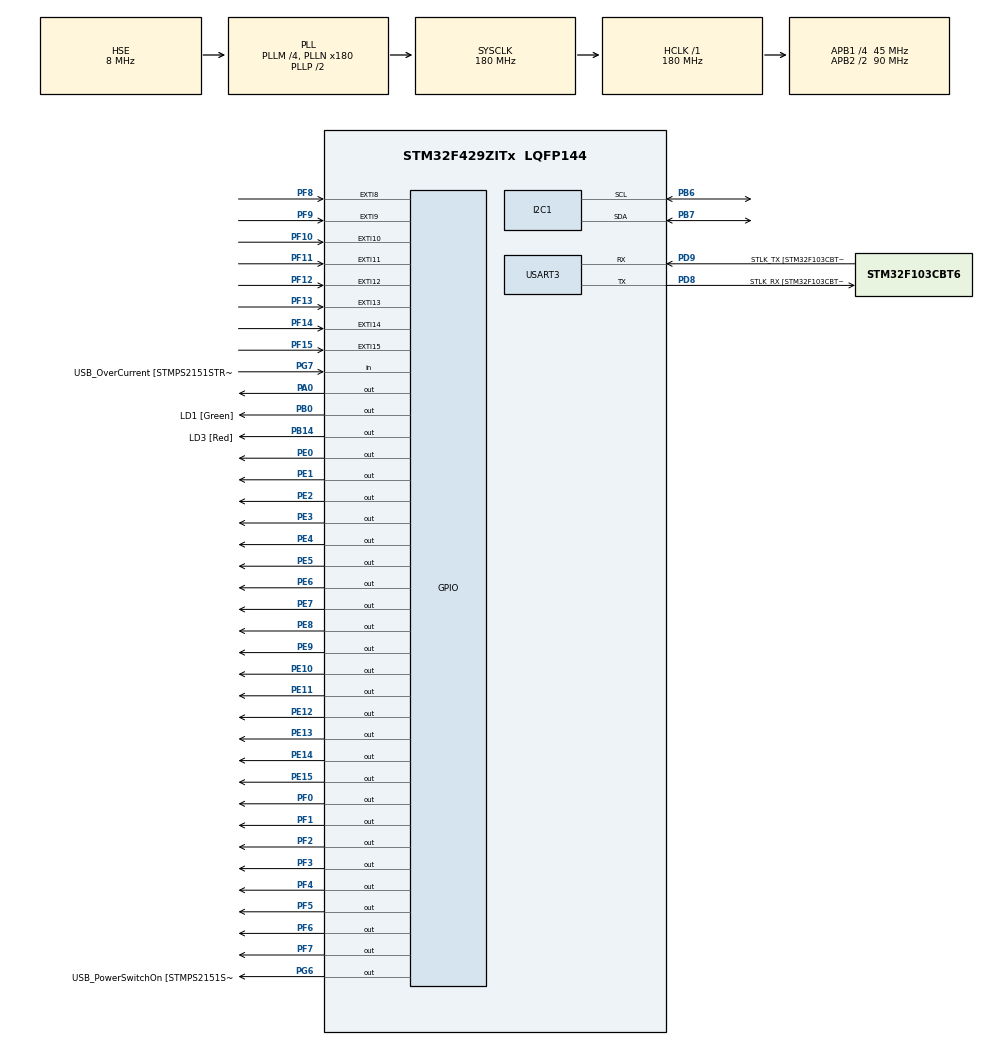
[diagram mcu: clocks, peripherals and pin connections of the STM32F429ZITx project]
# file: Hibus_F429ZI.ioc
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Mcu.Family=STM32F4
Mcu.Name=STM32F429ZITx
Mcu.Package=LQFP144
NVIC.EXTI15_10_IRQn=true\:0\:0\:false\:false\:true\:true\:true
NVIC.EXTI9_5_IRQn=true\:0\:0\:false\:false\:true\:true\:true
NVIC.PriorityGroup=NVIC_PRIORITYGROUP_4
NVIC.USART3_IRQn=true\:0\:0\:false\:false\:true\:true\:true
PA0/WKUP.Signal=GPIO_Output
PA1.GPIO_Label=RMII_REF_CLK [LAN8742A-CZ-TR_REFCLK0]
PA1.Signal=ETH_REF_CLK
PA10.GPIO_Label=USB_ID
PA10.Signal=USB_OTG_FS_ID
PA11.GPIO_Label=USB_DM
PA11.Signal=USB_OTG_FS_DM
PA12.GPIO_Label=USB_DP
PA12.Signal=USB_OTG_FS_DP
PA13.GPIO_Label=TMS
PA13.Mode=Serial_Wire
PA13.Signal=SYS_JTMS-SWDIO
PA14.GPIO_Label=TCK
PA14.Mode=Serial_Wire
PA14.Signal=SYS_JTCK-SWCLK
PA2.GPIO_Label=RMII_MDIO [LAN8742A-CZ-TR_MDIO]
PA2.Signal=ETH_MDIO
PA7.GPIO_Label=RMII_CRS_DV [LAN8742A-CZ-TR_CRS_DV]
PA7.Signal=ETH_CRS_DV
PA8.GPIO_Label=USB_SOF [TP1]
PA8.Signal=USB_OTG_FS_SOF
PA9.GPIO_Label=USB_VBUS
PA9.Signal=USB_OTG_FS_VBUS
PB0.GPIO_Label=LD1 [Green]
PB0.Signal=GPIO_Output
PB13.GPIO_Label=RMII_TXD1 [LAN8742A-CZ-TR_TXD1]
PB13.Signal=ETH_TXD1
PB14.GPIO_Label=LD3 [Red]
PB14.Signal=GPIO_Output
PB6.Mode=I2C
PB6.Signal=I2C1_SCL
PB7.Mode=I2C
PB7.Signal=I2C1_SDA
PC1.GPIO_Label=RMII_MDC [LAN8742A-CZ-TR_MDC]
PC1.Signal=ETH_MDC
PC14/OSC32_IN.Mode=LSE-External-Oscillator
PC14/OSC32_IN.Signal=RCC_OSC32_IN
PC15/OSC32_OUT.Mode=LSE-External-Oscillator
PC15/OSC32_OUT.Signal=RCC_OSC32_OUT
PC4.GPIO_Label=RMII_RXD0 [LAN8742A-CZ-TR_RXD0]
PC4.Signal=ETH_RXD0
PC5.GPIO_Label=RMII_RXD1 [LAN8742A-CZ-TR_RXD1]
PC5.Signal=ETH_RXD1
PD8.GPIO_Label=STLK_RX [STM32F103CBT6_PA3]
PD8.Mode=Asynchronous
PD8.Signal=USART3_TX
PD9.GPIO_Label=STLK_TX [STM32F103CBT6_PA2]
PD9.Mode=Asynchronous
PD9.Signal=USART3_RX
PE0.Signal=GPIO_Output
PE1.Signal=GPIO_Output
PE10.Signal=GPIO_Output
PE11.Signal=GPIO_Output
PE12.Signal=GPIO_Output
PE13.Signal=GPIO_Output
PE14.Signal=GPIO_Output
PE15.Signal=GPIO_Output
PE2.Signal=GPIO_Output
PE3.Signal=GPIO_Output
PE4.Signal=GPIO_Output
PE5.Signal=GPIO_Output
PE6.Signal=GPIO_Output
PE7.Signal=GPIO_Output
PE8.Signal=GPIO_Output
PE9.Signal=GPIO_Output
PF0.Signal=GPIO_Output
PF1.Signal=GPIO_Output
PF10.Signal=GPXTI10
PF11.Signal=GPXTI11
PF12.Signal=GPXTI12
PF13.Signal=GPXTI13
PF14.Signal=GPXTI14
PF15.Signal=GPXTI15
PF2.Signal=GPIO_Output
PF3.Signal=GPIO_Output
PF4.Signal=GPIO_Output
PF5.Signal=GPIO_Output
PF6.Signal=GPIO_Output
PF7.Signal=GPIO_Output
PF8.Signal=GPXTI8
PF9.Signal=GPXTI9
PG11.GPIO_Label=RMII_TX_EN [LAN8742A-CZ-TR_TXEN]
PG11.Signal=ETH_TX_EN
PG13.GPIO_Label=RMII_TXD0 [LAN8742A-CZ-TR_TXD0]
PG13.Signal=ETH_TXD0
PG6.GPIO_Label=USB_PowerSwitchOn [STMPS2151STR_EN]
PG6.Signal=GPIO_Output
PG7.GPIO_Label=USB_OverCurrent [STMPS2151STR_FAULT]
PG7.Signal=GPIO_Input
PH0/OSC_IN.GPIO_Label=MCO [STM32F103CBT6_PA8]
PH0/OSC_IN.Mode=HSE-External-Clock-Source
PH0/OSC_IN.Signal=RCC_OSC_IN
PH1/OSC_OUT.Mode=HSE-External-Clock-Source
PH1/OSC_OUT.Signal=RCC_OSC_OUT
ProjectManager.HeapSize=0x200
ProjectManager.StackSize=0x400
ProjectManager.TargetToolchain=MDK-ARM V5.27
RCC.48MHZClocksFreq_Value=90000000
RCC.AHBFreq_Value=180000000
RCC.APB1CLKDivider=RCC_HCLK_DIV4
RCC.APB1Freq_Value=45000000
RCC.APB1TimFreq_Value=90000000
RCC.APB2CLKDivider=RCC_HCLK_DIV2
RCC.APB2Freq_Value=90000000
RCC.APB2TimFreq_Value=180000000
RCC.CortexFreq_Value=180000000
RCC.HCLKFreq_Value=180000000
RCC.HSE_VALUE=8000000
RCC.HSI_VALUE=16000000
RCC.PLLM=4
RCC.PLLMUL=RCC_PLL_MUL9
RCC.PLLN=180
RCC.PLLSourceVirtual=RCC_PLLSOURCE_HSE
RCC.PRESCALERUSB=RCC_USBCLKSOURCE_PLL_DIV1_5
RCC.SYSCLKFreq_VALUE=180000000
RCC.SYSCLKSource=RCC_SYSCLKSOURCE_PLLCLK
RCC.SYSCLKSourceVirtual=RCC_SYSCLKSOURCE_PLLCLK
RCC.USBFreq_Value=48000000
RCC.VCOOutputFreq_Value=360000000
USART3.VirtualMode=VM_ASYNC
board=NUCLEO-F429ZI

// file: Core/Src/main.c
/* USER CODE BEGIN Header */
/**
  ******************************************************************************
  * @file           : main.c
  * @brief          : Main program body
  ******************************************************************************
  * @attention
  *
  * Copyright (c) 2022 STMicroelectronics.
  * All rights reserved.
  *
  * This software is licensed under terms that can be found in the LICENSE file
  * in the root directory of this software component.
  * If no LICENSE file comes with this software, it is provided AS-IS.
  *
  ******************************************************************************
  */
/* USER CODE END Header */
#include "main.h"
#include "i2c.h"
#include "usart.h"
#include "gpio.h"

/* USER CODE BEGIN Includes */
#include "stdio.h"
/* USER CODE END Includes */

void SystemClock_Config(void);
/* USER CODE BEGIN PFP */
int _write(int file, char* p, int len)
{
	if(HAL_UART_Transmit(&huart3, (uint8_t*)p, len, 10) == HAL_OK) return len;
	else return 0;
}
/* USER CODE END PFP */

int main(void)
{

  /* MCU Configuration--------------------------------------------------------*/

  /* Reset of all peripherals, Initializes the Flash interface and the Systick. */
  HAL_Init();

  /* Configure the system clock */
  SystemClock_Config();

  /* Initialize all configured peripherals */
  MX_GPIO_Init();
  MX_I2C1_Init();
  MX_USART3_UART_Init();
  /* USER CODE BEGIN 2 */
	HAL_GPIO_WritePin(GPIOA, GPIO_PIN_0, GPIO_PIN_RESET);
	GPIOA -> MODER = GPIOA -> MODER & (~0x11);
	GPIOA -> MODER = GPIOA -> MODER | (0x01);
	GPIOA -> ODR = 0x00;
  /* USER CODE END 2 */

  /* Infinite loop */
  /* USER CODE BEGIN WHILE */
	int i = 0;
	uint8_t dir = 1;
  while (1)
  {
		//if (dir > 0) i++;
	  //else i--;
		//GPIOF->ODR = GPIOA->ODR | 0x01 << i;
		//HAL_Delay(500);
		//if (i == 7) dir = 0;
		//if (i == 0) dir = 1;

		if(dir > 0){
			GPIOF->ODR = GPIOF->ODR ^ (0x01 << i);
			i++;
			if(i > 3) i = 3;

		}else{
			GPIOF->ODR = GPIOF->ODR ^ (0x01 << i);
			i--;
			if (i < 0) i = 0;
		}

		if (GPIOF->ODR == 0x0F ) dir = 0;
		if (GPIOF->ODR == 0x00 ) dir = 1;

		HAL_Delay(500);

    /* USER CODE END WHILE */

  }
}

void SystemClock_Config(void)
{
  RCC_OscInitTypeDef RCC_OscInitStruct = {0};
  RCC_ClkInitTypeDef RCC_ClkInitStruct = {0};

  /** Configure the main internal regulator output voltage
  */
  __HAL_RCC_PWR_CLK_ENABLE();
  __HAL_PWR_VOLTAGESCALING_CONFIG(PWR_REGULATOR_VOLTAGE_SCALE1);
  /** Initializes the RCC Oscillators according to the specified parameters
  * in the RCC_OscInitTypeDef structure.
  */
  RCC_OscInitStruct.OscillatorType = RCC_OSCILLATORTYPE_HSE;
  RCC_OscInitStruct.HSEState = RCC_HSE_BYPASS;
  RCC_OscInitStruct.PLL.PLLState = RCC_PLL_ON;
  RCC_OscInitStruct.PLL.PLLSource = RCC_PLLSOURCE_HSE;
  RCC_OscInitStruct.PLL.PLLM = 4;
  RCC_OscInitStruct.PLL.PLLN = 180;
  RCC_OscInitStruct.PLL.PLLP = RCC_PLLP_DIV2;
  RCC_OscInitStruct.PLL.PLLQ = 4;
  if (HAL_RCC_OscConfig(&RCC_OscInitStruct) != HAL_OK)
  {
    Error_Handler();
  }
  /** Activate the Over-Drive mode
  */
  if (HAL_PWREx_EnableOverDrive() != HAL_OK)
  {
    Error_Handler();
  }
  /** Initializes the CPU, AHB and APB buses clocks
  */
  RCC_ClkInitStruct.ClockType = RCC_CLOCKTYPE_HCLK|RCC_CLOCKTYPE_SYSCLK
                              |RCC_CLOCKTYPE_PCLK1|RCC_CLOCKTYPE_PCLK2;
  RCC_ClkInitStruct.SYSCLKSource = RCC_SYSCLKSOURCE_PLLCLK;
  RCC_ClkInitStruct.AHBCLKDivider = RCC_SYSCLK_DIV1;
  RCC_ClkInitStruct.APB1CLKDivider = RCC_HCLK_DIV4;
  RCC_ClkInitStruct.APB2CLKDivider = RCC_HCLK_DIV2;

  if (HAL_RCC_ClockConfig(&RCC_ClkInitStruct, FLASH_LATENCY_5) != HAL_OK)
  {
    Error_Handler();
  }
}

void Error_Handler(void)
{
  __disable_irq();
  while (1)
  {
  }
}
